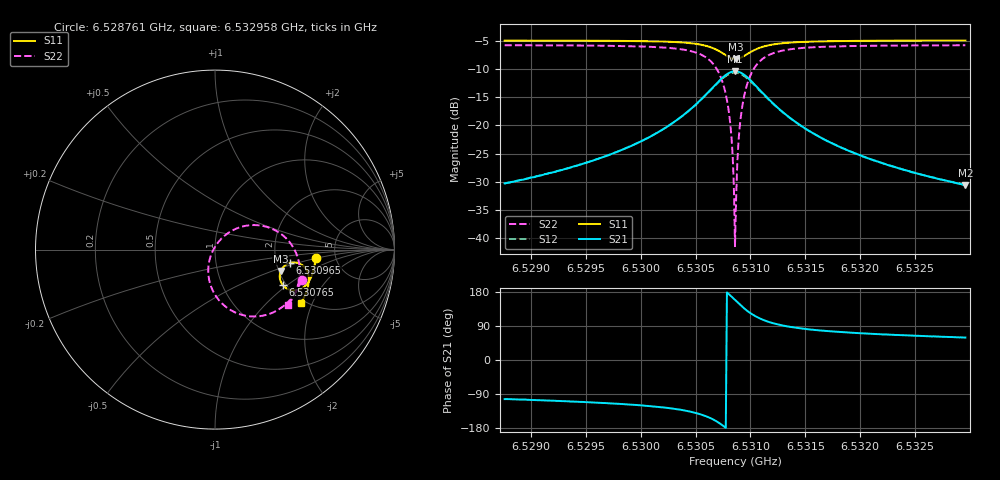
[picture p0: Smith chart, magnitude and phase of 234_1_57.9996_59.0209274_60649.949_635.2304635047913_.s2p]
#  HZ  S  RI  R  50.00
! Rohde & Schwarz Vector Network Analyzer
! Rohde-Schwarz,ZNB20-2Port,1311601062101988,3.16
! Created: UTC 3/21/2024, 1:00:46 AM
! freq[Hz]  re:S11  im:S11  re:S21  im:S21  re:S12  im:S12  re:S22  im:S22
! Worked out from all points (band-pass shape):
!   401 points, 6.528761 GHz to 6.532958 GHz, reference 50 ohm
!   highest |S21| = -10.43 dB at 6.53086 GHz (marker M1); lowest = -30.6 dB at 6.532958 GHz (marker M2)
!   |S21| within 3 dB of the highest: 6.53065 GHz to 6.53107 GHz (419.4 kHz wide, 0.00642 % of centre)
!   lowest |S11| = -8.3 dB at 6.53087 GHz (marker M3), VSWR 2.25, Z = 102 - j28.7 ohm
!   |S11| at or under -10 dB: nowhere
!   |S22| runs from -41.4 to -5.8 dB; largest |S21 - S12| = 0.012
!   S11 on the Smith chart (normalised r, x): 6.528761 GHz: 3.49, -0.49; 6.530765 GHz: 1.92, -0.92; 6.530965 GHz: 2.38, -0.43; 6.532958 GHz: 1.89, -1.65
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6.5287615e9  0.5602 -0.0479  -0.00701 -0.0298  -0.00748 -0.0296  0.4831 -0.1693
6.5294644e9  0.5511 -0.1063  -0.0161 -0.0425  -0.017 -0.0421  0.4522 -0.2334
6.5301673e9  0.5244 -0.1762  -0.049 -0.0729  -0.0511 -0.0715  0.3713 -0.3224
6.5304085e9  0.4981 -0.2066  -0.0879 -0.0922  -0.0907 -0.0891  0.2919 -0.3619
6.5305869e9  0.4551 -0.2265  -0.1548 -0.0988  -0.1572 -0.0924  0.1682 -0.368
6.5306918e9  0.4108 -0.2222  -0.2233 -0.0729  -0.2226 -0.0635  0.053 -0.3129
6.5307652e9  0.3761 -0.1957  -0.2737 -0.0155  -0.2682 -0.00563  -0.0215 -0.2072
6.5308072e9  0.3631 -0.1685  -0.2893 0.0365  -0.2809 0.0445  -0.0378 -0.1184
6.5308282e9  0.3606 -0.1524  -0.2901 0.066  -0.2803 0.0723  -0.0332 -0.0698
6.5308387e9  0.3607 -0.1441  -0.2882 0.0809  -0.278 0.0866  -0.0274 -0.0456
6.5308491e9  0.3617 -0.1357  -0.2847 0.0958  -0.2744 0.1006  -0.019 -0.022
6.5308596e9  0.3636 -0.1275  -0.28 0.1105  -0.2693 0.1141  -0.00848 0.000789
6.5308701e9  0.3663 -0.1195  -0.2737 0.1244  -0.263 0.1273  0.00441 0.0226
6.5308806e9  0.3699 -0.1118  -0.2661 0.1378  -0.2555 0.1396  0.0193 0.0428
6.5308911e9  0.3743 -0.1048  -0.2573 0.1501  -0.247 0.151  0.0361 0.0613
6.5309121e9  0.3849 -0.0925  -0.2368 0.1715  -0.2272 0.1708  0.0734 0.0923
6.5309645e9  0.4171 -0.0739  -0.1776 0.2032  -0.1708 0.2002  0.1765 0.1335
6.531038e9  0.4594 -0.0736  -0.1038 0.2053  -0.1001 0.2023  0.3005 0.1226
6.5311429e9  0.4965 -0.0952  -0.0401 0.1752  -0.0383 0.1733  0.4028 0.056
6.5315625e9  0.5231 -0.1744  0.0151 0.0847  0.0161 0.0844  0.4724 -0.1333
6.5322654e9  0.505 -0.2462  0.0174 0.0406  0.0181 0.0404  0.4432 -0.2482
6.5329578e9  0.479 -0.2981  0.0152 0.0255  0.0157 0.0252  0.4081 -0.3082
